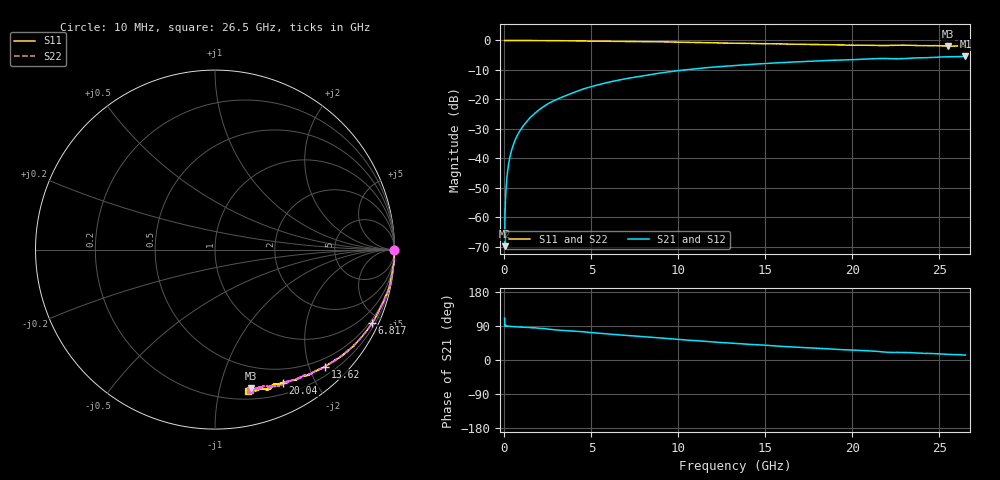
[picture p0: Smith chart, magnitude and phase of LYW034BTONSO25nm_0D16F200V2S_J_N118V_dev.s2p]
!Keysight Technologies,N5222B,MY61253708,A.15.00.15
!Date: Wednesday, June 19, 2024 09:49:11
!Correction: S11(C  2-Port  )
!S21(C  2-Port  )
!S12(C  2-Port  )
!S22(C  2-Port  )
!S2P File: Measurements: S11, S21, S12, S22:
# Hz S  RI  R 50
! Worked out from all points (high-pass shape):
!   2651 points, 10 MHz to 26.5 GHz, reference 50 ohm
!   highest |S21| = -5.39 dB at 26.5 GHz (marker M1); lowest = -69.9 dB at 10 MHz (marker M2)
!   |S21| within 3 dB of the highest: 13.455 GHz to 13.4888 GHz (33.8 MHz wide, 0.251 % of centre); 13.51 GHz to end of sweep
!   lowest |S11| = -2.0 dB at 25.5 GHz (marker M3), VSWR 8.94, Z = 14.7 - j62.7 ohm
!   |S11| at or under -10 dB: nowhere
!   |S22| runs from -1.9 to 0.0 dB; largest |S21 - S12| = 0.0063
!   S11 on the Smith chart (normalised r, x): 10 MHz: open; 6.817 GHz: 0.36, -4.49; 13.62 GHz: 0.35, -2.27; 20.04 GHz: 0.32, -1.58; 26.5 GHz: 0.27, -1.22
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1e7  0.9987 -0.00254  -0.000114 0.0003  0.000419 0.000225  0.9984 -0.0016
6.997736e7  1 -0.0051  -5.8e-07 0.00236  3.83e-05 0.00232  0.9996 -0.00474
1.599434e8  1 -0.0113  4.75e-05 0.00532  5.54e-05 0.00533  0.9996 -0.0107
1.999283e8  1 -0.0137  9.29e-05 0.00663  0.00011 0.00667  0.9996 -0.013
2.599057e8  0.9997 -0.0178  0.000123 0.00861  0.000179 0.00866  0.9995 -0.017
3.598679e8  0.9995 -0.0247  0.000262 0.0119  0.000296 0.012  0.9993 -0.0239
4.898189e8  0.9988 -0.0331  0.000506 0.0162  0.000553 0.0163  0.9989 -0.0321
6.497585e8  0.9986 -0.0432  0.000915 0.0215  0.000905 0.0215  0.9985 -0.0425
8.396868e8  0.9979 -0.0557  0.00146 0.0276  0.00151 0.0278  0.998 -0.0555
1.449457e9  0.9907 -0.0973  0.0035 0.0479  0.00356 0.0481  0.993 -0.0941
2.319128e9  0.9821 -0.1509  0.0098 0.0774  0.01 0.0778  0.9832 -0.1516
3.208792e9  0.971 -0.2071  0.021 0.1037  0.0213 0.1044  0.9707 -0.2068
4.428332e9  0.9429 -0.2799  0.0383 0.1412  0.0387 0.1421  0.9442 -0.2777
6.81743e9  0.8759 -0.408  0.0906 0.1997  0.0919 0.2005  0.8768 -0.4073
8.846664e9  0.804 -0.5012  0.1446 0.2363  0.1461 0.237  0.8046 -0.5004
1.3255e10  0.6285 -0.6414  0.2716 0.2607  0.274 0.2604  0.6307 -0.6406
1.362486e10  0.6138 -0.652  0.2813 0.2598  0.283 0.2592  0.6152 -0.648
1.767333e10  0.457 -0.7212  0.3778 0.2331  0.3812 0.2313  0.4656 -0.7187
2.004244e10  0.3785 -0.7433  0.4242 0.2089  0.4267 0.2055  0.3905 -0.7422
2.209166e10  0.3216 -0.7545  0.4606 0.1712  0.4623 0.1681  0.314 -0.7601
2.550038e10  0.2026 -0.7727  0.5097 0.1349  0.5111 0.1341  0.2216 -0.7745
2.65e10  0.183 -0.7866  0.5231 0.1236  0.5226 0.1196  0.1953 -0.7841
